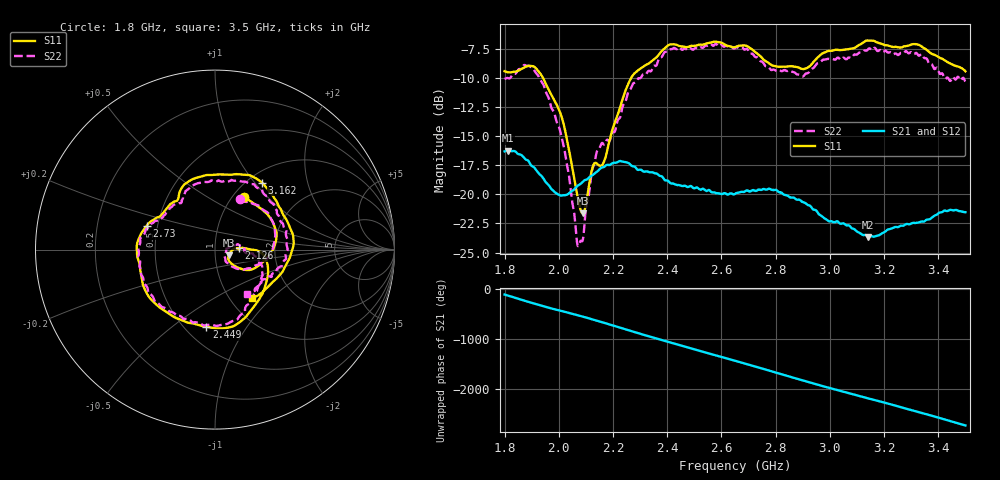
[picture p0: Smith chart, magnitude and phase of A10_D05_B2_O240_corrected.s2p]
! Created with skrf 1.9.0 (http://scikit-rf.org).
# Hz S RI R 50.0
!freq ReS11 ImS11 ReS21 ImS21 ReS12 ImS12 ReS22 ImS22
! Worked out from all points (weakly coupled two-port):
!   1601 points, 1.8 GHz to 3.5 GHz, reference 50 ohm
!   highest |S21| = -16.24 dB at 1.813 GHz (marker M1); lowest = -23.7 dB at 3.142 GHz (marker M2)
!   lowest |S11| = -21.6 dB at 2.088 GHz (marker M3), VSWR 1.18, Z = 58.2 - j3.67 ohm
!   |S11| at or under -10 dB: 1.942 GHz to 2.267 GHz (325.3 MHz wide, 15.5 % of centre)
!   |S22| runs from -24.5 to -7.1 dB; largest |S21 - S12| = 0.0028
!   S11 on the Smith chart (normalised r, x): 1.8 GHz: 1.13, +0.75; 2.126 GHz: 1.30, +0.02; 2.449 GHz: 0.63, -0.67; 2.73 GHz: 0.43, +0.14; 3.162 GHz: 1.16, +1.09; 3.5 GHz: 1.26, -0.76
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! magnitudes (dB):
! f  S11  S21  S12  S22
! 1.8 GHz  -9.4  -16.3  -16.3  -10.1
! 1.813 GHz  -9.5  -16.2  -16.2  -10.0
! 1.881 GHz  -9.0  -17.0  -17.1  -9.0
! 1.942 GHz  -10.0  -18.6  -18.6  -10.5
! 2.013 GHz  -13.5  -20.1  -20.1  -15.4
! 2.068 GHz  -20.0  -19.3  -19.3  -24.2
! 2.084 GHz  -21.5  -19.0  -19.0  -24.0
! 2.088 GHz  -21.6  -18.9  -19.0  -24.0
! 2.126 GHz  -17.6  -18.3  -18.3  -17.7
! 2.167 GHz  -17.2  -17.6  -17.6  -15.7
! 2.268 GHz  -10.0  -17.5  -17.5  -10.8
! 2.367 GHz  -8.0  -18.3  -18.3  -8.4
! 2.449 GHz  -7.3  -19.2  -19.3  -7.5
! 2.65 GHz  -7.4  -20.0  -19.9  -7.5
! 2.73 GHz  -7.9  -19.7  -19.7  -8.2
! 2.799 GHz  -9.0  -19.6  -19.6  -9.4
! 2.934 GHz  -8.8  -21.2  -21.2  -9.2
! 3.142 GHz  -6.8  -23.7  -23.6  -7.5
! 3.162 GHz  -6.8  -23.6  -23.6  -7.5
! 3.217 GHz  -7.2  -23.0  -23.0  -7.8
! 3.326 GHz  -7.1  -22.4  -22.4  -8.0
! 3.5 GHz  -9.4  -21.5  -21.5  -10.3
